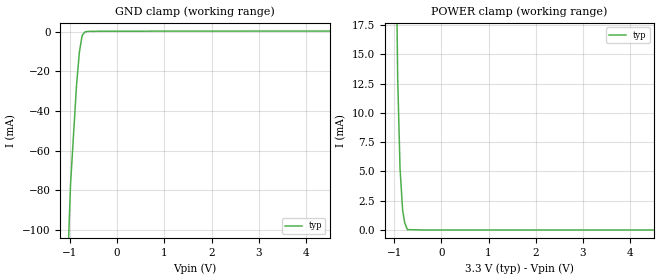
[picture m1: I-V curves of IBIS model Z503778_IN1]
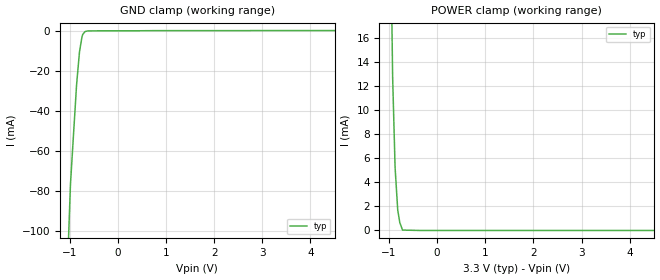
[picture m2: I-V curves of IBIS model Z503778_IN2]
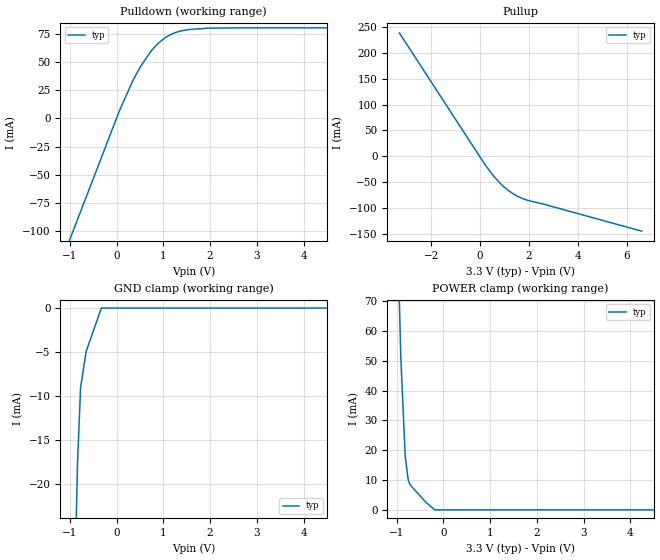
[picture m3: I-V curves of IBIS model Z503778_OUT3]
| YOU ARE ONLY AUTHORIZED TO USE THIS SOFTWARE
| ACCORDING TO LICENSOR'S LICENSE RESTRICTIONS.
[IBIS Ver] 3.1
[File Name] mc74ac32n_33.ibs
[File Rev] 2.0
[Source] Measured and created by ICX Technology
[Date] Friday 7/14/00 9:07:59 AM
[Copyright]
| (C) COPYRIGHT 1993-2000
| MENTOR GRAPHICS CORPORATION
| ICX STANDARD LIBRARY, ICX PROJECT MODELING,
| ICX CUSTOM MODELING, ICX VENDOR MODEL
| ALL RIGHTS RESERVED.
| THE FOLLOWING ARE TRADEMARKS OR SERVICE MARKS OF
| MENTOR GRAPHICS CORPORATION:ICX (R), ICX STANDARD
| LIBRARY(R), ICX PROJECT MODELING(R), ICX CUSTOM
| MODELING(R), qualityIBIS(TM), MODELVIEWER(TM),
| AND MODELEDITOR(TM)
| ALL COPIES OF SOFTWARE, INCLUDING BUT NOT LIMITED TO
| ANY MODIFICATIONS, ENHANCEMENTS OR DERIVATIVE WORKS,
| MUST CONTAIN ALL MENTOR GRAPHICS CORPORATION'S
| NOTICES AND LEGENDS, INCLUDING THOSE EMBEDDED IN
| SOFTWARE AND THOSE AFFIXED TO SOFTWARE MEDIUM
| AND CONTAINER, AS RECEIVED FROM MENTOR GRAPHICS
| CORPORATION.
|  ZAP Model Builder 2.7
[Component] MC74AC32N_33
[Manufacturer] OnSemiconductor
[Package]
| variable   typ   min   max
R_pkg  .21ohms NA NA
L_pkg  4.543nH NA NA
C_pkg  1.059pF NA NA
[Pin] signal_name  model_name  R_pin  L_pin C_pin
1 A1 Z503778_IN1 .22 6.757n 1.432p
2 B1 Z503778_IN2 .212 4.757n 1.142p
3 Y1 Z503778_OUT3 .204 3.257n .852p
4 A2 Z503778_IN1 .196 2.257n .562p
5 B2 Z503778_IN2 .204 3.257n .852p
6 Y2 Z503778_OUT3 .212 4.757n 1.142p
7 GND GND .22 6.757n 1.432p
8 Y3 Z503778_OUT3 .22 6.757n 1.432p
9 A3 Z503778_IN1 .212 4.757n 1.142p
10 B3 Z503778_IN2 .204 3.257n .852p
11 Y4 Z503778_OUT3 .196 2.257n .562p
12 A4 Z503778_IN1 .204 3.257n .852p
13 B4 Z503778_IN2 .212 4.757n 1.142p
14 VCC POWER .22 6.757n 1.432p
| Models and submodels in the file (3): Z503778_IN1 (Input), Z503778_IN2 (Input), Z503778_OUT3 (Output)
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| (C) COPYRIGHT 1993-2000
| MENTOR GRAPHICS CORPORATION
| ICX STANDARD LIBRARY, ICX PROJECT MODELING,
| ICX CUSTOM MODELING, ICX VENDOR MODEL
| ALL RIGHTS RESERVED.
| THE FOLLOWING ARE TRADEMARKS OR SERVICE MARKS OF
| MENTOR GRAPHICS CORPORATION:ICX (R), ICX STANDARD
| LIBRARY(R), ICX PROJECT MODELING(R), ICX CUSTOM
| MODELING(R), qualityIBIS(TM), MODELVIEWER(TM),
| AND MODELEDITOR(TM)
| ALL COPIES OF SOFTWARE, INCLUDING BUT NOT LIMITED TO
| ANY MODIFICATIONS, ENHANCEMENTS OR DERIVATIVE WORKS,
| MUST CONTAIN ALL MENTOR GRAPHICS CORPORATION'S
| NOTICES AND LEGENDS, INCLUDING THOSE EMBEDDED IN
| SOFTWARE AND THOSE AFFIXED TO SOFTWARE MEDIUM
| AND CONTAINER, AS RECEIVED FROM MENTOR GRAPHICS
| CORPORATION.
| Model Application Version 1.89 2/18/99.
[Model] Z503778_IN1
Model_type Input
Vinl = 990.0mV
Vinh = 2.310V
C_comp 4.000pF NA NA
| variable typ   min   max
[Voltage Range] 3.300V NA NA
[GND Clamp Reference] 0.000V NA NA
[POWER Clamp Reference] 3.300V NA NA
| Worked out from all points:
|   GND clamp passes 1 mA (typ) near -0.71 V on its own axis
|   POWER clamp passes 1 mA (typ) near -0.79 V on its own axis
[GND Clamp]
-3.3V     -1.619A    NA         NA
-986.1mV  -76.87mA   NA         NA
-859.4mV  -27.02mA   NA         NA
-799.3mV  -10.43mA   NA         NA
-747.8mV  -2.926mA   NA         NA
-731.9mV  -1.634mA   NA         NA
-668.5mV  -86.95uA   NA         NA
6.6V      273.5uA    NA         NA
[POWER Clamp]
-3.3V     1.825A     NA         NA
-1.132V   117.5mA    NA         NA
-1.012V   44.19mA    NA         NA
-924mV    13.07mA    NA         NA
-874mV    5.264mA    NA         NA
-819mV    1.693mA    NA         NA
-776mV    632.9uA    NA         NA
-718mV    29.1uA     NA         NA
-359mV    0A         NA         NA
6.6V      0A         NA         NA
| (C) COPYRIGHT 1993-2000
| MENTOR GRAPHICS CORPORATION
| ICX STANDARD LIBRARY, ICX PROJECT MODELING,
| ICX CUSTOM MODELING, ICX VENDOR MODEL
| ALL RIGHTS RESERVED.
| THE FOLLOWING ARE TRADEMARKS OR SERVICE MARKS OF
| MENTOR GRAPHICS CORPORATION:ICX (R), ICX STANDARD
| LIBRARY(R), ICX PROJECT MODELING(R), ICX CUSTOM
| MODELING(R), qualityIBIS(TM), MODELVIEWER(TM),
| AND MODELEDITOR(TM)
| ALL COPIES OF SOFTWARE, INCLUDING BUT NOT LIMITED TO
| ANY MODIFICATIONS, ENHANCEMENTS OR DERIVATIVE WORKS,
| MUST CONTAIN ALL MENTOR GRAPHICS CORPORATION'S
| NOTICES AND LEGENDS, INCLUDING THOSE EMBEDDED IN
| SOFTWARE AND THOSE AFFIXED TO SOFTWARE MEDIUM
| AND CONTAINER, AS RECEIVED FROM MENTOR GRAPHICS
| CORPORATION.
| Model Application Version 1.89 2/18/99.
[Model] Z503778_IN2
Model_type Input
Vinl = 990.0mV
Vinh = 2.310V
C_comp 4.000pF NA NA
| variable typ   min   max
[Voltage Range] 3.300V NA NA
[GND Clamp Reference] 0.000V NA NA
[POWER Clamp Reference] 3.300V NA NA
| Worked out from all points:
|   GND clamp passes 1 mA (typ) near -0.71 V on its own axis
|   POWER clamp passes 1 mA (typ) near -0.79 V on its own axis
[GND Clamp]
-3.3V     -1.643A    NA         NA
-986.1mV  -76.78mA   NA         NA
-859.3mV  -27mA      NA         NA
-798.6mV  -10.44mA   NA         NA
-747.5mV  -2.98mA    NA         NA
-731.2mV  -1.685mA   NA         NA
-667.9mV  -102uA     NA         NA
6.6V      282.2uA    NA         NA
[POWER Clamp]
-3.3V     1.498A     NA         NA
-1.142V   107.9mA    NA         NA
-1.002V   36.13mA    NA         NA
-924mV    12.78mA    NA         NA
-873mV    5.251mA    NA         NA
-818mV    1.701mA    NA         NA
-775mV    654.9uA    NA         NA
-718mV    34.1uA     NA         NA
-359mV    0A         NA         NA
6.6V      0A         NA         NA
| (C) COPYRIGHT 1993-2000
| MENTOR GRAPHICS CORPORATION
| ICX STANDARD LIBRARY, ICX PROJECT MODELING,
| ICX CUSTOM MODELING, ICX VENDOR MODEL
| ALL RIGHTS RESERVED.
| THE FOLLOWING ARE TRADEMARKS OR SERVICE MARKS OF
| MENTOR GRAPHICS CORPORATION:ICX (R), ICX STANDARD
| LIBRARY(R), ICX PROJECT MODELING(R), ICX CUSTOM
| MODELING(R), qualityIBIS(TM), MODELVIEWER(TM),
| AND MODELEDITOR(TM)
| ALL COPIES OF SOFTWARE, INCLUDING BUT NOT LIMITED TO
| ANY MODIFICATIONS, ENHANCEMENTS OR DERIVATIVE WORKS,
| MUST CONTAIN ALL MENTOR GRAPHICS CORPORATION'S
| NOTICES AND LEGENDS, INCLUDING THOSE EMBEDDED IN
| SOFTWARE AND THOSE AFFIXED TO SOFTWARE MEDIUM
| AND CONTAINER, AS RECEIVED FROM MENTOR GRAPHICS
| CORPORATION.
| Model Application Version 1.89 2/18/99.
[Model] Z503778_OUT3
Model_type Output
Vref=0.000V
Rref=500.0ohms
Cref=50.00pF
Vmeas=1.650V
C_comp 8.000pF NA NA
| variable typ   min   max
[Voltage Range] 3.300V NA NA
[POWER Clamp Reference] 3.300V NA NA
[Pullup Reference] 3.300V NA NA
[Pulldown Reference] 0.000V NA NA
[GND Clamp Reference] 0.000V NA NA
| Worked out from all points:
|   slope of the pulldown table from 0 to 0.495 V, typ, clamps not added: 11.2 ohm
|   slope of the pullup table from 0 to 0.495 V, typ, clamps not added: 14.9 ohm
|   POWER clamp passes 1 mA (typ) near -0.26 V on its own axis
[GND Clamp]
-3.3V     -474.7mA   NA         NA
-1.123V   -84.45mA   NA         NA
-834.8mV  -17.69mA   NA         NA
-769.2mV  -9.083mA   NA         NA
-649.9mV  -4.941mA   NA         NA
-325mV    0A         NA         NA
6.6V      0A         NA         NA
[Pulldown]
-3.3V     -354.1mA   NA         NA
59.13mV   6.565mA    NA         NA
351.8mV   33.76mA    NA         NA
517.8mV   46.33mA    NA         NA
742.2mV   59.83mA    NA         NA
872mV     65.75mA    NA         NA
1.065V    72.18mA    NA         NA
1.183V    74.78mA    NA         NA
1.382V    77.54mA    NA         NA
1.543V    78.7mA     NA         NA
1.997V    79.94mA    NA         NA
6.6V      80.22mA    NA         NA
[Pullup]
-3.3V     238.9mA    NA         NA
180mV     -15.1mA    NA         NA
536mV     -37.75mA   NA         NA
990mV     -60.28mA   NA         NA
1.395V    -74.29mA   NA         NA
1.923V    -85.25mA   NA         NA
6.6V      -145.3mA   NA         NA
[POWER Clamp]
-3.3V     1.968A     NA         NA
-1.026V   123.8mA    NA         NA
-914mV    52.05mA    NA         NA
-817mV    18mA       NA         NA
-753mV    10.04mA    NA         NA
-714mV    8.396mA    NA         NA
-372mV    2.499mA    NA         NA
-186mV    0A         NA         NA
6.6V      0A         NA         NA
[Ramp]
| variable typ min max
dV/dt_r 1.944/699.9p NA NA
dV/dt_f 1.944/836.7p NA NA
R_load = 500.0Ohms
